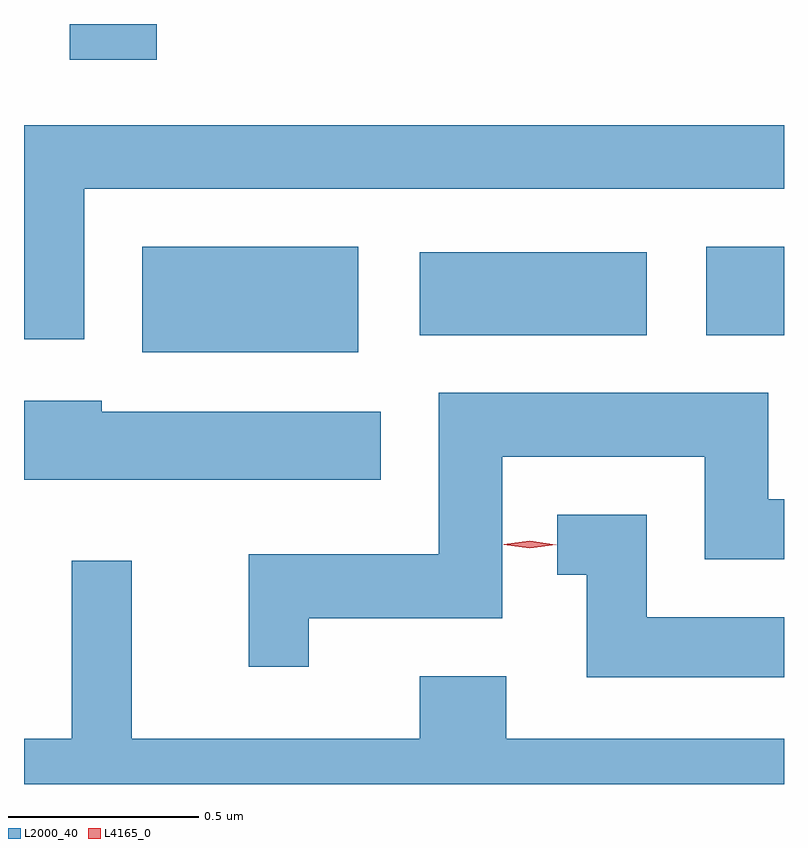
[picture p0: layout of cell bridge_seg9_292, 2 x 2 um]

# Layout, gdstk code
import gdstk
lib = gdstk.Library(unit=1e-6, precision=1e-09)
def R(c, l, rs):  # rectangles x0, y0, x1, y1
    for r in rs: c.add(gdstk.rectangle(r[:2], r[2:], *l))
def P(c, l, *ps):  # polygons
    for p in ps: c.add(gdstk.Polygon(p, *l))
L2000_40 = (2000, 40)
L4165_0 = (4165, 0)

bridge_seg9_292 = lib.new_cell('bridge_seg9_292')
R(bridge_seg9_292, L2000_40, [(1019.641,2044.161,1020.209,2044.439), (1020.371,2044.206,1020.969,2044.424), (1021.126,2044.206,1021.33,2044.439), (1019.451,2044.931,1019.679,2045.025)])
P(bridge_seg9_292, L2000_40, [(1019.489,2044.591),(1021.33,2044.591),(1021.33,2044.759),(1019.331,2044.759),(1019.331,2044.404),(1019.33,2044.404),(1019.33,2044.196),(1019.489,2044.196)],
  [(1020.079,2043.461),(1020.589,2043.461),(1020.589,2043.886),(1021.121,2043.886),(1021.121,2043.616),(1021.33,2043.616),(1021.33,2043.774),(1021.289,2043.774),(1021.289,2044.054),(1020.421,2044.054),(1020.421,2043.629),(1019.921,2043.629),(1019.921,2043.333),(1020.079,2043.333)],
  [(1020.269,2044.004),(1019.534,2044.004),(1019.534,2044.034),(1019.33,2044.034),(1019.33,2043.826),(1020.269,2043.826)],
  [(1021.33,2043.464),(1020.969,2043.464),(1020.969,2043.734),(1020.733,2043.734),(1020.733,2043.576),(1020.811,2043.576),(1020.811,2043.306),(1021.33,2043.306)],
  [(1021.33,2043.144),(1020.599,2043.144),(1020.599,2043.309),(1020.371,2043.309),(1020.371,2043.144),(1019.614,2043.144),(1019.614,2043.613),(1019.456,2043.613),(1019.456,2043.144),(1019.33,2043.144),(1019.33,2043.025),(1021.33,2043.025)])
P(bridge_seg9_292, L4165_0, [(1020.661,2043.645),(1020.592,2043.655),(1020.592,2043.656),(1020.592,2043.656),(1020.661,2043.665),(1020.731,2043.655),(1020.731,2043.655),(1020.731,2043.654)])

lib.write_gds('bridge_seg9_292.gds')
